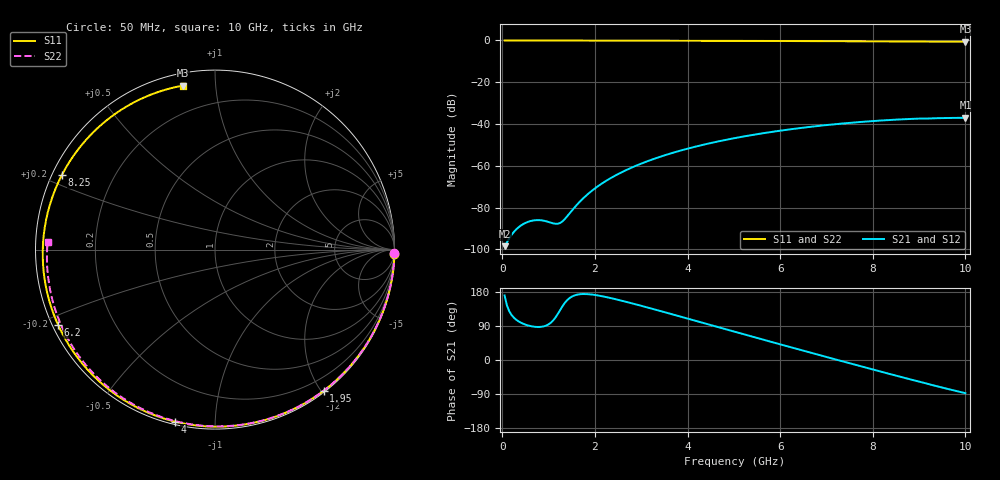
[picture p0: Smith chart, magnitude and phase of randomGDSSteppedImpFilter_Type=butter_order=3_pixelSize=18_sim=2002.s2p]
! freq	dB(S11)	phase(S11)	dB(S12)	phase(S12)
!  dB(S21)	phase(S21)	dB(S22)	phase(S22)
!S-par simulation data
#  GHz  S  DB  R 50
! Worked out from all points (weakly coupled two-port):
!   200 points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, 50 MHz to 10 GHz, reference 50 ohm
!   highest |S21| = -37.05 dB at 10 GHz (marker M1); lowest = -98.5 dB at 50 MHz (marker M2)
!   lowest |S11| = -0.6 dB at 10 GHz (marker M3), VSWR 27.99, Z = 3 + j41.1 ohm
!   |S11| at or under -10 dB: nowhere
!   |S22| runs from -0.6 to 0.0 dB; largest |S21 - S12| = 0
!   S11 on the Smith chart (normalised r, x): 50 MHz: 0, -83; 1.95 GHz: 0.02, -2.03; 4 GHz: 0.01, -0.79; 6.2 GHz: 0.02, -0.23; 8.25 GHz: 0.03, +0.23; 10 GHz: 0.06, +0.82
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0.05  -0.00 -1.4  -98.51 170.2  -98.51 170.2  -0.00 -1.0
0.75  -0.02 -20.6  -86.03 87.2  -86.03 87.2  -0.02 -15.3
1.55  -0.05 -42.0  -80.22 170.0  -80.22 170.0  -0.04 -31.2
1.75  -0.06 -47.2  -75.52 174.1  -75.52 174.1  -0.04 -35.2
1.95  -0.07 -52.4  -71.70 172.5  -71.70 172.5  -0.05 -39.1
2.25  -0.08 -60.1  -67.11 165.9  -67.11 165.9  -0.06 -44.9
2.6  -0.09 -69.0  -62.87 155.8  -62.87 155.8  -0.07 -51.6
3  -0.10 -79.0  -58.97 143.1  -58.97 143.1  -0.08 -59.2
3.4  -0.12 -88.7  -55.76 129.7  -55.76 129.7  -0.09 -66.6
4  -0.14 -103.1  -51.82 109.4  -51.82 109.4  -0.11 -77.6
4.5  -0.16 -114.8  -49.13 92.3  -49.13 92.3  -0.13 -86.5
5.05  -0.19 -127.6  -46.63 73.5  -46.63 73.5  -0.15 -96.1
5.65  -0.23 -141.5  -44.36 53.1  -44.36 53.1  -0.18 -106.4
6.2  -0.27 -154.4  -42.60 34.6  -42.60 34.6  -0.21 -115.7
6.7  -0.31 -166.3  -41.24 17.9  -41.24 17.9  -0.24 -124.2
7.5  -0.38 173.9  -39.46 -8.6  -39.46 -8.6  -0.31 -137.7
8.25  -0.45 154.1  -38.23 -33.2  -38.23 -33.2  -0.38 -150.5
8.35  -0.46 151.4  -38.10 -36.4  -38.10 -36.4  -0.39 -152.2
8.75  -0.50 140.0  -37.64 -49.2  -37.64 -49.2  -0.44 -159.3
9.15  -0.54 128.1  -37.42 -61.7  -37.42 -61.7  -0.49 -166.5
9.6  -0.59 114.1  -37.13 -75.8  -37.13 -75.8  -0.54 -174.8
10  -0.62 101.0  -37.05 -87.6  -37.05 -87.6  -0.60 177.5
